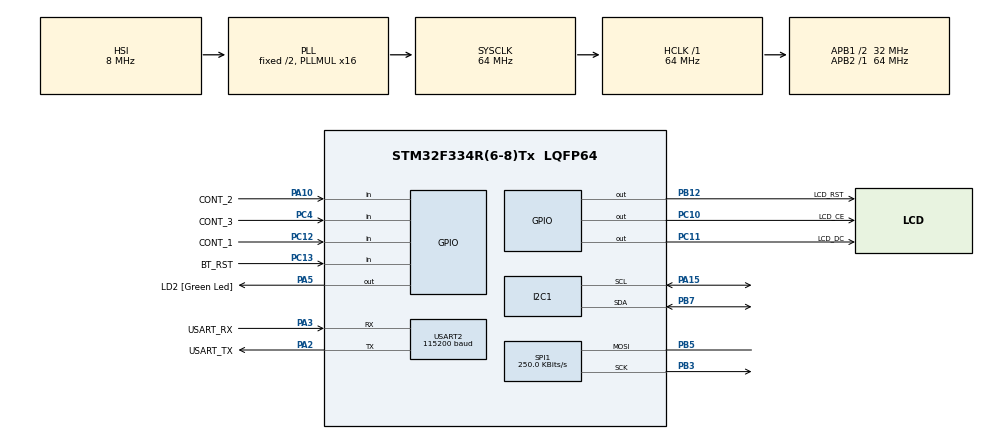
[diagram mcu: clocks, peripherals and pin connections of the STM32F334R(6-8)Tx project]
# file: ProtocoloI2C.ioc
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Mcu.Family=STM32F3
Mcu.Name=STM32F334R(6-8)Tx
Mcu.Package=LQFP64
NVIC.PriorityGroup=NVIC_PRIORITYGROUP_0
PA10.GPIO_Label=CONT_2
PA10.Signal=GPIO_Input
PA13.GPIO_Label=TMS
PA13.Mode=Serial_Wire
PA13.Signal=SYS_JTMS-SWDIO
PA14.GPIO_Label=TCK
PA14.Mode=Serial_Wire
PA14.Signal=SYS_JTCK-SWCLK
PA15.Mode=I2C
PA15.Signal=I2C1_SCL
PA2.GPIO_Label=USART_TX
PA2.Mode=Asynchronous
PA2.Signal=USART2_TX
PA3.GPIO_Label=USART_RX
PA3.Mode=Asynchronous
PA3.Signal=USART2_RX
PA5.GPIO_Label=LD2 [Green Led]
PA5.Signal=GPIO_Output
PB12.GPIO_Label=LCD_RST
PB12.Signal=GPIO_Output
PB3.Mode=Simplex_Bidirectional_Master
PB3.Signal=SPI1_SCK
PB5.Mode=Simplex_Bidirectional_Master
PB5.Signal=SPI1_MOSI
PB7.Mode=I2C
PB7.Signal=I2C1_SDA
PC10.GPIO_Label=LCD_CE
PC10.Signal=GPIO_Output
PC11.GPIO_Label=LCD_DC
PC11.Signal=GPIO_Output
PC12.GPIO_Label=CONT_1
PC12.Signal=GPIO_Input
PC13.GPIO_Label=BT_RST
PC13.Signal=GPIO_Input
PC4.GPIO_Label=CONT_3
PC4.Signal=GPIO_Input
ProjectManager.HeapSize=0x200
ProjectManager.StackSize=0x400
ProjectManager.TargetToolchain=STM32CubeIDE
RCC.AHBFreq_Value=64000000
RCC.APB1CLKDivider=RCC_HCLK_DIV2
RCC.APB1Freq_Value=32000000
RCC.APB1TimFreq_Value=64000000
RCC.APB2Freq_Value=64000000
RCC.APB2TimFreq_Value=64000000
RCC.CortexFreq_Value=64000000
RCC.FLatency-AdvancedSettings=FLASH_LATENCY_2
RCC.HCLKFreq_Value=64000000
RCC.HSE_VALUE=8000000
RCC.HSI_VALUE=8000000
RCC.LSE_VALUE=32768
RCC.PLLMUL=RCC_PLL_MUL16
RCC.SYSCLKFreq_VALUE=64000000
RCC.SYSCLKSourceVirtual=RCC_SYSCLKSOURCE_PLLCLK
SPI1.BaudRatePrescaler=SPI_BAUDRATEPRESCALER_256
SPI1.CalculateBaudRate=250.0 KBits/s
SPI1.DataSize=SPI_DATASIZE_8BIT
SPI1.Direction=SPI_DIRECTION_1LINE
SPI1.Mode=SPI_MODE_MASTER
SPI1.VirtualType=VM_MASTER
USART2.BaudRate=115200
USART2.VirtualMode-Asynchronous=VM_ASYNC
board=NUCLEO-F334R8

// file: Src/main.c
/* USER CODE BEGIN Header */
/**
  ******************************************************************************
  * @file           : main.c
  * @brief          : Main program body
  ******************************************************************************
  * @attention
  *
  * <h2><center>&copy; Copyright (c) 2019 STMicroelectronics.
  * All rights reserved.</center></h2>
  *
  * This software component is licensed by ST under BSD 3-Clause license,
  * the "License"; You may not use this file except in compliance with the
  * License. You may obtain a copy of the License at:
  *                        opensource.org/licenses/BSD-3-Clause
  *
  ******************************************************************************
  */
/* USER CODE END Header */

#include "main.h"

I2C_HandleTypeDef hi2c1;

SPI_HandleTypeDef hspi1;

UART_HandleTypeDef huart2;

void SystemClock_Config(void);
static void MX_GPIO_Init(void);
static void MX_USART2_UART_Init(void);
static void MX_I2C1_Init(void);
static void MX_SPI1_Init(void);

/* USER CODE BEGIN 0 */
#define EEPROM_ADDRESS 0XA0
uint8_t datagravar[5];
uint8_t dataler[3];
uint8_t end_memoria[2];
char buffer[4];
int conta1;
int conta2;
int conta3;
/* USER CODE END 0 */

int main(void)
{

  /* MCU Configuration--------------------------------------------------------*/

  /* Reset of all peripherals, Initializes the Flash interface and the Systick. */
  HAL_Init();

  /* Configure the system clock */
  SystemClock_Config();

  /* Initialize all configured peripherals */
  MX_GPIO_Init();
  MX_USART2_UART_Init();
  MX_I2C1_Init();
  MX_SPI1_Init();
  /* USER CODE BEGIN 2 */
  LCD_Init();
  end_memoria[0] = 0X00;
  end_memoria[1] = 0X05;
  HAL_I2C_Master_Transmit(&hi2c1, EEPROM_ADDRESS , end_memoria, 2, 500); //endereço de memória pra inciar a leitura
  HAL_Delay(1000);
  HAL_I2C_Master_Receive(&hi2c1, EEPROM_ADDRESS, dataler, 3, 500);  //leitura de 3 bytes

  /*conta1=atoi(dataler[0]);
  conta2=atoi(dataler[1]);
  conta3=atoi(dataler[2]);*/

  conta1 = dataler[0];
  conta2 = dataler[1];
  conta3 = dataler[2];

  datagravar[0] = 0X00; //0000 0000
  datagravar[1] = 0X05; //0000 0101
  /* USER CODE END 2 */

  /* Infinite loop */
  while (1)
  {

    /* USER CODE BEGIN 3 */

	  datagravar[2] = conta1; // byte 1 = cont1
	  datagravar[3] = conta2; // byte 2 = cont2
	  datagravar[4] = conta3; // byte 3 = cont3

	  HAL_I2C_Master_Transmit(&hi2c1, EEPROM_ADDRESS , datagravar, 5, 500); //GRAVA 5 BYTES, SENDO 2 DE ENDEREÇO E 3 DE DADOS
	  HAL_Delay(500);
	  //HAL_I2C_Master_Transmit(&hi2c1, EEPROM_ADDRESS , end_memoria, 2, 500);
	  //HAL_Delay(1000);
	  //HAL_I2C_Master_Receive(&hi2c1, EEPROM_ADDRESS, dataler, 2, 500);

	  /*sprintf(buffer,"%d",dataler[0]);
	  HAL_UART_Transmit(&huart2, buffer, 2, 100);
	  HAL_UART_Transmit(&huart2, " ", 2, 100);

	  sprintf(buffer,"%d",dataler[1]);
	  HAL_UART_Transmit(&huart2, buffer, 2, 100);
	  HAL_UART_Transmit(&huart2, "\n\r", 2, 100);

	  HAL_Delay(1000);*/
	  if(HAL_GPIO_ReadPin(CONT_1_GPIO_Port, CONT_1_Pin)==0){
		  conta1=conta1+1;
	  }
	  if(HAL_GPIO_ReadPin(CONT_2_GPIO_Port, CONT_2_Pin)==0){
	  		  conta2=conta2+1;
	  	  }
	  if(HAL_GPIO_ReadPin(CONT_3_GPIO_Port, CONT_3_Pin)==0){
	  		  conta3=conta3+1;
	  	  }

	  if(HAL_GPIO_ReadPin(BT_RST_GPIO_Port, BT_RST_Pin)==0){
	  	  		  conta3=0;
	  	  		  conta2=0;
	  	  		  conta1=0;
	  	  	  }

	  sprintf(buffer,"%d ",conta1);
	  LCD_Write_String(0, 1, buffer);
	  sprintf(buffer,"%d ",conta2);
	  LCD_Write_String(0, 2, buffer);
	  sprintf(buffer,"%d ",conta3);
	  LCD_Write_String(0, 3, buffer);
	  HAL_Delay(500);

  }
  /* USER CODE END 3 */
}

void SystemClock_Config(void)
{
  RCC_OscInitTypeDef RCC_OscInitStruct = {0};
  RCC_ClkInitTypeDef RCC_ClkInitStruct = {0};
  RCC_PeriphCLKInitTypeDef PeriphClkInit = {0};

  /** Initializes the CPU, AHB and APB busses clocks
  */
  RCC_OscInitStruct.OscillatorType = RCC_OSCILLATORTYPE_HSI;
  RCC_OscInitStruct.HSIState = RCC_HSI_ON;
  RCC_OscInitStruct.HSICalibrationValue = RCC_HSICALIBRATION_DEFAULT;
  RCC_OscInitStruct.PLL.PLLState = RCC_PLL_ON;
  RCC_OscInitStruct.PLL.PLLSource = RCC_PLLSOURCE_HSI;
  RCC_OscInitStruct.PLL.PLLMUL = RCC_PLL_MUL16;
  if (HAL_RCC_OscConfig(&RCC_OscInitStruct) != HAL_OK)
  {
    Error_Handler();
  }
  /** Initializes the CPU, AHB and APB busses clocks
  */
  RCC_ClkInitStruct.ClockType = RCC_CLOCKTYPE_HCLK|RCC_CLOCKTYPE_SYSCLK
                              |RCC_CLOCKTYPE_PCLK1|RCC_CLOCKTYPE_PCLK2;
  RCC_ClkInitStruct.SYSCLKSource = RCC_SYSCLKSOURCE_PLLCLK;
  RCC_ClkInitStruct.AHBCLKDivider = RCC_SYSCLK_DIV1;
  RCC_ClkInitStruct.APB1CLKDivider = RCC_HCLK_DIV2;
  RCC_ClkInitStruct.APB2CLKDivider = RCC_HCLK_DIV1;

  if (HAL_RCC_ClockConfig(&RCC_ClkInitStruct, FLASH_LATENCY_2) != HAL_OK)
  {
    Error_Handler();
  }
  PeriphClkInit.PeriphClockSelection = RCC_PERIPHCLK_I2C1;
  PeriphClkInit.I2c1ClockSelection = RCC_I2C1CLKSOURCE_HSI;
  if (HAL_RCCEx_PeriphCLKConfig(&PeriphClkInit) != HAL_OK)
  {
    Error_Handler();
  }
}

static void MX_I2C1_Init(void)
{

  hi2c1.Instance = I2C1;
  hi2c1.Init.Timing = 0x2000090E;
  hi2c1.Init.OwnAddress1 = 0;
  hi2c1.Init.AddressingMode = I2C_ADDRESSINGMODE_7BIT;
  hi2c1.Init.DualAddressMode = I2C_DUALADDRESS_DISABLE;
  hi2c1.Init.OwnAddress2 = 0;
  hi2c1.Init.OwnAddress2Masks = I2C_OA2_NOMASK;
  hi2c1.Init.GeneralCallMode = I2C_GENERALCALL_DISABLE;
  hi2c1.Init.NoStretchMode = I2C_NOSTRETCH_DISABLE;
  if (HAL_I2C_Init(&hi2c1) != HAL_OK)
  {
    Error_Handler();
  }
  /** Configure Analogue filter
  */
  if (HAL_I2CEx_ConfigAnalogFilter(&hi2c1, I2C_ANALOGFILTER_ENABLE) != HAL_OK)
  {
    Error_Handler();
  }
  /** Configure Digital filter
  */
  if (HAL_I2CEx_ConfigDigitalFilter(&hi2c1, 0) != HAL_OK)
  {
    Error_Handler();
  }

}

static void MX_SPI1_Init(void)
{

  /* SPI1 parameter configuration*/
  hspi1.Instance = SPI1;
  hspi1.Init.Mode = SPI_MODE_MASTER;
  hspi1.Init.Direction = SPI_DIRECTION_1LINE;
  hspi1.Init.DataSize = SPI_DATASIZE_8BIT;
  hspi1.Init.CLKPolarity = SPI_POLARITY_LOW;
  hspi1.Init.CLKPhase = SPI_PHASE_1EDGE;
  hspi1.Init.NSS = SPI_NSS_SOFT;
  hspi1.Init.BaudRatePrescaler = SPI_BAUDRATEPRESCALER_256;
  hspi1.Init.FirstBit = SPI_FIRSTBIT_MSB;
  hspi1.Init.TIMode = SPI_TIMODE_DISABLE;
  hspi1.Init.CRCCalculation = SPI_CRCCALCULATION_DISABLE;
  hspi1.Init.CRCPolynomial = 7;
  hspi1.Init.CRCLength = SPI_CRC_LENGTH_DATASIZE;
  hspi1.Init.NSSPMode = SPI_NSS_PULSE_ENABLE;
  if (HAL_SPI_Init(&hspi1) != HAL_OK)
  {
    Error_Handler();
  }

}

static void MX_USART2_UART_Init(void)
{

  huart2.Instance = USART2;
  huart2.Init.BaudRate = 115200;
  huart2.Init.WordLength = UART_WORDLENGTH_8B;
  huart2.Init.StopBits = UART_STOPBITS_1;
  huart2.Init.Parity = UART_PARITY_NONE;
  huart2.Init.Mode = UART_MODE_TX_RX;
  huart2.Init.HwFlowCtl = UART_HWCONTROL_NONE;
  huart2.Init.OverSampling = UART_OVERSAMPLING_16;
  huart2.Init.OneBitSampling = UART_ONE_BIT_SAMPLE_DISABLE;
  huart2.AdvancedInit.AdvFeatureInit = UART_ADVFEATURE_NO_INIT;
  if (HAL_UART_Init(&huart2) != HAL_OK)
  {
    Error_Handler();
  }

}

static void MX_GPIO_Init(void)
{
  GPIO_InitTypeDef GPIO_InitStruct = {0};

  /* GPIO Ports Clock Enable */
  __HAL_RCC_GPIOC_CLK_ENABLE();
  __HAL_RCC_GPIOA_CLK_ENABLE();
  __HAL_RCC_GPIOB_CLK_ENABLE();

  /*Configure GPIO pin Output Level */
  HAL_GPIO_WritePin(LD2_GPIO_Port, LD2_Pin, GPIO_PIN_RESET);

  /*Configure GPIO pin Output Level */
  HAL_GPIO_WritePin(LCD_RST_GPIO_Port, LCD_RST_Pin, GPIO_PIN_RESET);

  /*Configure GPIO pin Output Level */
  HAL_GPIO_WritePin(GPIOC, LCD_CE_Pin|LCD_DC_Pin, GPIO_PIN_RESET);

  /*Configure GPIO pins : BT_RST_Pin CONT_3_Pin CONT_1_Pin */
  GPIO_InitStruct.Pin = BT_RST_Pin|CONT_3_Pin|CONT_1_Pin;
  GPIO_InitStruct.Mode = GPIO_MODE_INPUT;
  GPIO_InitStruct.Pull = GPIO_NOPULL;
  HAL_GPIO_Init(GPIOC, &GPIO_InitStruct);

  /*Configure GPIO pin : LD2_Pin */
  GPIO_InitStruct.Pin = LD2_Pin;
  GPIO_InitStruct.Mode = GPIO_MODE_OUTPUT_PP;
  GPIO_InitStruct.Pull = GPIO_NOPULL;
  GPIO_InitStruct.Speed = GPIO_SPEED_FREQ_LOW;
  HAL_GPIO_Init(LD2_GPIO_Port, &GPIO_InitStruct);

  /*Configure GPIO pin : LCD_RST_Pin */
  GPIO_InitStruct.Pin = LCD_RST_Pin;
  GPIO_InitStruct.Mode = GPIO_MODE_OUTPUT_PP;
  GPIO_InitStruct.Pull = GPIO_NOPULL;
  GPIO_InitStruct.Speed = GPIO_SPEED_FREQ_LOW;
  HAL_GPIO_Init(LCD_RST_GPIO_Port, &GPIO_InitStruct);

  /*Configure GPIO pin : CONT_2_Pin */
  GPIO_InitStruct.Pin = CONT_2_Pin;
  GPIO_InitStruct.Mode = GPIO_MODE_INPUT;
  GPIO_InitStruct.Pull = GPIO_NOPULL;
  HAL_GPIO_Init(CONT_2_GPIO_Port, &GPIO_InitStruct);

  /*Configure GPIO pins : LCD_CE_Pin LCD_DC_Pin */
  GPIO_InitStruct.Pin = LCD_CE_Pin|LCD_DC_Pin;
  GPIO_InitStruct.Mode = GPIO_MODE_OUTPUT_PP;
  GPIO_InitStruct.Pull = GPIO_NOPULL;
  GPIO_InitStruct.Speed = GPIO_SPEED_FREQ_LOW;
  HAL_GPIO_Init(GPIOC, &GPIO_InitStruct);

}

void Error_Handler(void)
{
}

/************************ (C) COPYRIGHT STMicroelectronics *****END OF FILE****/
